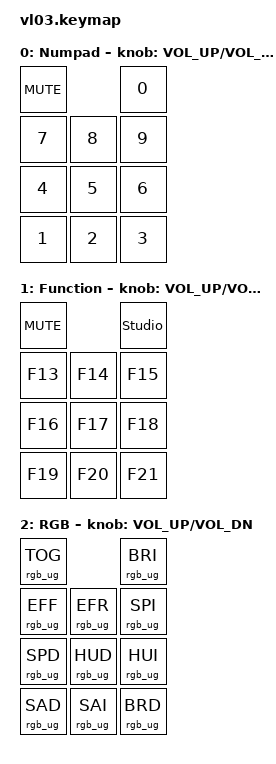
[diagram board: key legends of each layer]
#include <behaviors.dtsi>
#include <dt-bindings/zmk/keys.h>
#include <dt-bindings/zmk/rgb.h>

#define NUMPAD 0
#define FUNC   1
#define RGB    2

/ {
    combos {
        compatible = "zmk,combos";

        // Encoder switch (position 3) + the "0" key (position 10) toggles the
        // Function layer. Because it is active on both layers, the same chord
        // switches back to the Numpad layer again.
        combo_func_toggle {
            timeout-ms = <50>;
            key-positions = <3 10>;
            bindings = <&tog FUNC>;
            layers = <NUMPAD FUNC>;
        };

        // Encoder switch (position 3) + the "1" key (position 0) toggles the
        // RGB layer, which controls the WS2812B panel. Kept separate from the
        // Function-layer combo above so RGB and Function can't both end up
        // active at once.
        combo_rgb_toggle {
            timeout-ms = <50>;
            key-positions = <3 0>;
            bindings = <&tog RGB>;
            layers = <NUMPAD RGB>;
        };
    };

    keymap {
        compatible = "zmk,keymap";

        // ------------------------------------------------------------------
        //  Layer 0 - Numpad
        //  Case rotated 90 degrees CCW from the original wiring. As the user
        //  now sees it:
        //   (mute/enc)   .    0
        //       7        8    9
        //       4        5    6
        //       1        2    3
        //  Encoder rotate = volume down / up (reversed from original wiring)
        // ------------------------------------------------------------------
        numpad_layer {
            display-name = "Numpad";
            bindings = <
                &kp N1  &kp N4  &kp N7  &kp C_MUTE
                &kp N2  &kp N5  &kp N8
                &kp N3  &kp N6  &kp N9  &kp N0
            >;
            sensor-bindings = <&inc_dec_kp C_VOL_UP C_VOL_DN>;
        };

        // ------------------------------------------------------------------
        //  Layer 1 - Function (F13-F21)
        //  Same rotation as the Numpad layer:
        //   (mute/enc)   .   studio_unlock
        //      F13      F14      F15
        //      F16      F17      F18
        //      F19      F20      F21
        //  Encoder rotate = volume down / up (reversed from original wiring)
        //  Tap the studio_unlock key here to unlock ZMK Studio for editing.
        // ------------------------------------------------------------------
        function_layer {
            display-name = "Function";
            bindings = <
                &kp F19  &kp F16  &kp F13  &kp C_MUTE
                &kp F20  &kp F17  &kp F14
                &kp F21  &kp F18  &kp F15  &studio_unlock
            >;
            sensor-bindings = <&inc_dec_kp C_VOL_UP C_VOL_DN>;
        };

        // ------------------------------------------------------------------
        //  Layer 2 - RGB (controls the WS2812B 4x4 panel)
        //  Same rotation as the Numpad layer:
        //   (toggle)   .   bright+
        //     next    prev   speed+
        //    speed-   hue-   hue+
        //     sat-    sat+   bright-
        //  Encoder rotate = volume down / up (unchanged, reversed like the others)
        //  Toggle this layer with encoder switch + "1" (see combo above).
        // ------------------------------------------------------------------
        rgb_layer {
            display-name = "RGB";
            bindings = <
                &rgb_ug RGB_SAD  &rgb_ug RGB_SPD  &rgb_ug RGB_EFF  &rgb_ug RGB_TOG
                &rgb_ug RGB_SAI  &rgb_ug RGB_HUD  &rgb_ug RGB_EFR
                &rgb_ug RGB_BRD  &rgb_ug RGB_HUI  &rgb_ug RGB_SPI  &rgb_ug RGB_BRI
            >;
            sensor-bindings = <&inc_dec_kp C_VOL_UP C_VOL_DN>;
        };
    };
};
